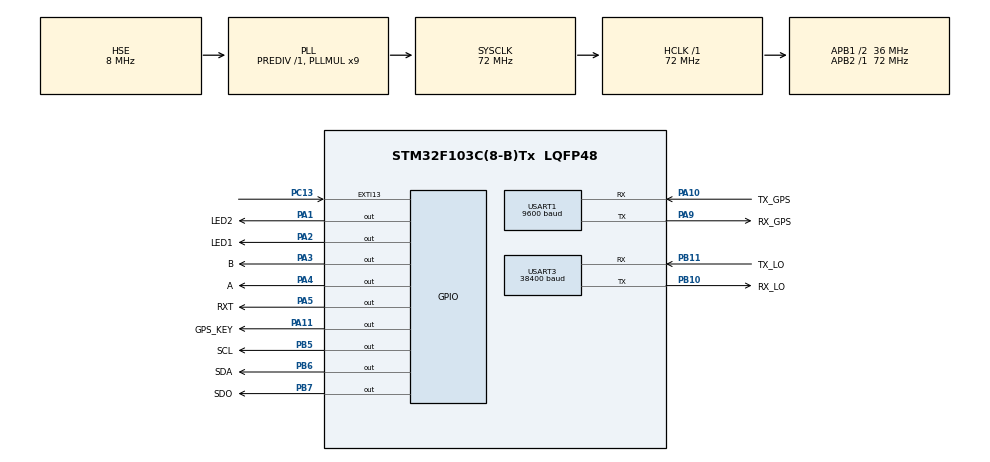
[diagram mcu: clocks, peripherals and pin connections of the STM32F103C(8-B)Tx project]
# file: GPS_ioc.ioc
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Mcu.Family=STM32F1
Mcu.Name=STM32F103C(8-B)Tx
Mcu.Package=LQFP48
NVIC.EXTI15_10_IRQn=true\:0\:0\:false\:false\:true
NVIC.PriorityGroup=NVIC_PRIORITYGROUP_4
NVIC.RTC_IRQn=true\:0\:0\:false\:false\:true
NVIC.USART1_IRQn=true\:0\:0\:false\:false\:true
PA0-WKUP.GPIO_Label=INT2
PA0-WKUP.Mode=SYS_WakeUp0
PA0-WKUP.Signal=SYS_WKUP
PA1.GPIO_Label=LED2
PA1.Signal=GPIO_Output
PA10.GPIO_Label=TX_GPS
PA10.Mode=Asynchronous
PA10.Signal=USART1_RX
PA11.GPIO_Label=GPS_KEY
PA11.Signal=GPIO_Output
PA13.GPIO_Label=TMS
PA13.Mode=JTAG_4_pins
PA13.Signal=SYS_JTMS-SWDIO
PA14.GPIO_Label=TCK
PA14.Mode=JTAG_4_pins
PA14.Signal=SYS_JTCK-SWCLK
PA15.Mode=JTAG_4_pins
PA15.Signal=SYS_JTDI
PA2.GPIO_Label=LED1
PA2.Signal=GPIO_Output
PA3.GPIO_Label=B
PA3.Signal=GPIO_Output
PA4.GPIO_Label=A
PA4.Signal=GPIO_Output
PA5.GPIO_Label=RXT
PA5.Signal=GPIO_Output
PA9.GPIO_Label=RX_GPS
PA9.Mode=Asynchronous
PA9.Signal=USART1_TX
PB10.GPIO_Label=RX_LO
PB10.Mode=Asynchronous
PB10.Signal=USART3_TX
PB11.GPIO_Label=TX_LO
PB11.Mode=Asynchronous
PB11.Signal=USART3_RX
PB3.Mode=JTAG_4_pins
PB3.Signal=SYS_JTDO-TRACESWO
PB5.GPIO_Label=SCL
PB5.Signal=GPIO_Output
PB6.GPIO_Label=SDA
PB6.Signal=GPIO_Output
PB7.GPIO_Label=SDO
PB7.Signal=GPIO_Output
PC13-TAMPER-RTC.Signal=GPXTI13
PC14-OSC32_IN.Mode=LSE-External-Oscillator
PC14-OSC32_IN.Signal=RCC_OSC32_IN
PC15-OSC32_OUT.Mode=LSE-External-Oscillator
PC15-OSC32_OUT.Signal=RCC_OSC32_OUT
PD0-OSC_IN.Mode=HSE-External-Oscillator
PD0-OSC_IN.Signal=RCC_OSC_IN
PD1-OSC_OUT.Mode=HSE-External-Oscillator
PD1-OSC_OUT.Signal=RCC_OSC_OUT
ProjectManager.HeapSize=0x200
ProjectManager.StackSize=0x400
ProjectManager.TargetToolchain=EWARM
RCC.AHBFreq_Value=72000000
RCC.APB1CLKDivider=RCC_HCLK_DIV2
RCC.APB1Freq_Value=36000000
RCC.APB1TimFreq_Value=72000000
RCC.APB2Freq_Value=72000000
RCC.APB2TimFreq_Value=72000000
RCC.HCLKFreq_Value=72000000
RCC.PLLMUL=RCC_PLL_MUL9
RCC.PLLSourceVirtual=RCC_PLLSOURCE_HSE
RCC.SYSCLKFreq_VALUE=72000000
RCC.SYSCLKSource=RCC_SYSCLKSOURCE_PLLCLK
RCC.USBFreq_Value=72000000
RTC.OutPut=RTC_OUTPUTSOURCE_ALARM
USART1.BaudRate=9600
USART1.VirtualMode=VM_ASYNC
USART3.BaudRate=38400
USART3.VirtualMode=VM_ASYNC
VP_RTC_VS_RTC_Activate.Mode=RTC_Enabled
VP_RTC_VS_RTC_Calendar.Mode=RTC_Calendar
board=GPS_ioc

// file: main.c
/**
  ******************************************************************************
  * File Name          : main.c
  * Description        : Main program body
  ******************************************************************************
  ** This notice applies to any and all portions of this file
  * that are not between comment pairs USER CODE BEGIN and
  * USER CODE END. Other portions of this file, whether
  * inserted by the user or by software development tools
  * are owned by their respective copyright owners.
  *
  * COPYRIGHT(c) 2017 STMicroelectronics
  *
  * Redistribution and use in source and binary forms, with or without modification,
  * are permitted provided that the following conditions are met:
  *   1. Redistributions of source code must retain the above copyright notice,
  *      this list of conditions and the following disclaimer.
  *   2. Redistributions in binary form must reproduce the above copyright notice,
  *      this list of conditions and the following disclaimer in the documentation
  *      and/or other materials provided with the distribution.
  *   3. Neither the name of STMicroelectronics nor the names of its contributors
  *      may be used to endorse or promote products derived from this software
  *      without specific prior written permission.
  *
  * THIS SOFTWARE IS PROVIDED BY THE COPYRIGHT HOLDERS AND CONTRIBUTORS "AS IS"
  * AND ANY EXPRESS OR IMPLIED WARRANTIES, INCLUDING, BUT NOT LIMITED TO, THE
  * IMPLIED WARRANTIES OF MERCHANTABILITY AND FITNESS FOR A PARTICULAR PURPOSE ARE
  * DISCLAIMED. IN NO EVENT SHALL THE COPYRIGHT HOLDER OR CONTRIBUTORS BE LIABLE
  * FOR ANY DIRECT, INDIRECT, INCIDENTAL, SPECIAL, EXEMPLARY, OR CONSEQUENTIAL
  * DAMAGES (INCLUDING, BUT NOT LIMITED TO, PROCUREMENT OF SUBSTITUTE GOODS OR
  * SERVICES; LOSS OF USE, DATA, OR PROFITS; OR BUSINESS INTERRUPTION) HOWEVER
  * CAUSED AND ON ANY THEORY OF LIABILITY, WHETHER IN CONTRACT, STRICT LIABILITY,
  * OR TORT (INCLUDING NEGLIGENCE OR OTHERWISE) ARISING IN ANY WAY OUT OF THE USE
  * OF THIS SOFTWARE, EVEN IF ADVISED OF THE POSSIBILITY OF SUCH DAMAGE.
  *
  ******************************************************************************
  */
#include "main.h"
#include "stm32f1xx_hal.h"
#include "rtc.h"
#include "usart.h"
#include "gpio.h"

/* USER CODE BEGIN Includes */
#include "lvbo.h"
/* USER CODE END Includes */

/* USER CODE BEGIN PV */
/* Private variables ---------------------------------------------------------*/
uint8_t ReadBuffer[10];
uint16_t ti=0;
int16_t jiasudux;
int16_t jiasuduy;
int16_t jiasuduz;
uint16_t nn=0;
uint8_t GPSCtr[16]={0X24,0X50,0X48,0X58,0X4D,0X31,0X30,0X32,0X2C,0X30,0X30,0X2A,0X31,0X32,0X0D,0X0A};////关闭所有NMEA语句
uint8_t GPSCtr1[19]={0X24,0X50,0X48,0X58,0X4D,0X31,0X30,0X33,0X2C,0X47,0X47,0X41,0X2C,0X35,0X2A,0X34,0X42,0X0D,0X0A};////打开GGA语句，5s一次输出
//uint8_t GPSCtr1[19]={0X24,0X50,0X48,0X58,0X4D,0X31,0X30,0X33,0X2C,0X47,0X47,0X41,0X2C,0X31,0X2A,0X34,0X46,0X0D,0X0A};////打开GGA语句，1s一次输出
uint8_t GPSCtr2[19]={0X24,0X50,0X48,0X58,0X4D,0X31,0X30,0X33,0X2C,0X41,0X4E,0X54,0X2C,0X30,0X2A,0X35,0X34,0X0D,0X0A};////关闭ANT语句
uint8_t GPSCtr3[13]={0X24,0X43,0X46,0X43,0X48,0X57,0X2C,0X30,0X2A,0X34,0X35,0X0D,0X0A};//冷启动复位
uint8_t GPSCtr4[13]={0X24,0X43,0X46,0X43,0X48,0X57,0X2C,0X31,0X2A,0X34,0X34,0X0D,0X0A};//热启动复位
uint8_t TEMP[2];
uint16_t jiaoyan=0X330;
uint8_t GPSData[50];
uint8_t LoRaData[50];
uint8_t LoRaDatai=0;
uint8_t LoRaxiumian[4]={0XEE,0XFF,0XEE,0XFF};
uint8_t didian;
uint16_t temp=0;
uint8_t xiumianstate=0;
uint8_t antE=0;
uint8_t GPSErrorn=0;
uint8_t GPS_flag=0;
uint8_t zhongduantime=0;
uint32_t zhongduantime1=0;
/* USER CODE END PV */

void SystemClock_Config(void);

/* USER CODE BEGIN PFP */
/* Private function prototypes -----------------------------------------------*/

/* USER CODE END PFP */

/* USER CODE BEGIN 0 */
void delay(uint32_t delaytime)
{
   while(ti<(delaytime*20))
    {
      ti++;
    }
    ti=0;
}

/* USER CODE END 0 */

int main(void)
{

  /* MCU Configuration----------------------------------------------------------*/

  /* Reset of all peripherals, Initializes the Flash interface and the Systick. */
  HAL_Init();

  /* Configure the system clock */
  SystemClock_Config();

  /* USER CODE BEGIN SysInit */
  lvbo_initialize( );
  /* USER CODE END SysInit */

  /* Initialize all configured peripherals */
  MX_GPIO_Init();
  MX_RTC_Init();
  MX_USART1_UART_Init();
  MX_USART3_UART_Init();

  /* USER CODE BEGIN 2 */
     lvbo_DW.bushuall=BKP->DR2;////读取备份寄存器的总步数
     HAL_GPIO_WritePin(GPIOA, LED1_Pin, GPIO_PIN_SET);
     HAL_GPIO_WritePin(GPIOA, RXT_Pin, GPIO_PIN_SET);////RXT置高
     if(BKP->DR1!=0X5050)//////判断是否第一次配置，如果不是则跳过
     {
     RCC->APB1ENR|=1<<28;/////使能电源时钟
     RCC->APB1ENR|=1<<28;/////使能备份时钟
     PWR->CR|=1<<8;/////取消备份区写保护
     RCC->BDCR|=1<<16;/////备份区域软复位结束
     RCC->BDCR&=~(1<<16);/////备份区域软复位结束
//     RCC->BDCR|=1<<0;
//     while(!(RCC->BDCR&0X02)&&temp<250)
//     {
//       temp++;
//       HAL_Delay(10);
//     };
//     if(temp>=250)return 1;
//    RCC->BDCR|=1<<8;
     RCC->BDCR|=1<<9;
     RCC->BDCR|=1<<15;////RTC时钟使能
     while(!(RTC->CRL&(1<<5)));////等待RTC寄存器操作完成
     while(!(RTC->CRL&(1<<3)));////等待RTC寄存器同步
     RTC->CRH=0X02;////允许闹钟中断
     while(!(RTC->CRL&(1<<5)));////等待RTC寄存器操作完成
     RTC->CRL|=1<<4;/////进入配置模式
     RTC->PRLH=0X0000;
     RTC->PRLL=0X7FFF; ////设置预分频系数，产生1s一次的信号
     RTC->ALRH=0X0000;
     RTC->ALRL=0X012C;////设置5min产生一次中断
     RTC->CRL&=~(1<<4);/////配置更新
     while(!(RTC->CRL&(1<<5)));////等待RTC寄存器操作完成
     HAL_Delay(100);
     lis2dh_WriteOneByte(0X20,0X67);///////电源模式 通信模式 400HZ 三个方向的加速度传感器使能
     lis2dh_WriteOneByte(0X1F,0XC0);/////温度传感器使能
     lis2dh_WriteOneByte(0X23,0X90);/////电源模式 量程设置+-4g 数据更新模式
     lis2dh_WriteOneByte(0X34,0X6A);/////INT2模式
     lis2dh_WriteOneByte(0X36,0X22);/////阈值1120
     lis2dh_WriteOneByte(0X37,0X70);/////INT时间
     lis2dh_WriteOneByte(0X25,0XF8);/////

     HAL_GPIO_WritePin(GPIOA, GPS_KEY_Pin, GPIO_PIN_SET);////打开GPS电源开关
     HAL_GPIO_WritePin(GPIOA, LED2_Pin, GPIO_PIN_RESET);////打开GPS工作灯
     HAL_Delay(2000);
     HAL_UART_Transmit(&huart1,GPSCtr4,13,0xffff);//////GPS设置，热启动
     HAL_Delay(2000);
     HAL_UART_Transmit(&huart1,GPSCtr,16,0xffff);//////GPS设置
     HAL_Delay(2000);
     HAL_UART_Transmit(&huart1,GPSCtr1,19,0xffff);//////GPS设置
     HAL_Delay(2000);
     HAL_UART_Transmit(&huart1,GPSCtr2,19,0xffff);//////GPS设置
     HAL_Delay(2000);
     //HAL_GPIO_WritePin(GPIOA, GPS_KEY_Pin, GPIO_PIN_RESET);////关闭GPS电源开关
     HAL_GPIO_WritePin(GPIOA, LED2_Pin, GPIO_PIN_SET);////关闭GPS工作灯
     //HAL_Delay(3000);

     PWR->CR&=0XFFFFFF0F;/////设置低电警告参数
     PWR->CR|=0X000000F0;/////2.9V低电警告

     BKP->DR1=0X5050;/////标记配置次数
     }
     else
     {
       while(!(RTC->CRL&(1<<3)));////等待RTC寄存器同步
       RTC->CRH=0X02;////允许闹钟中断
       while(!(RTC->CRL&(1<<5)));////等待RTC寄存器操作完成
     }
  /* USER CODE END 2 */

  /* Infinite loop */
  while (1)
  {

  /* USER CODE BEGIN 3 */
     nn++;
     didian=(PWR->CSR&0X0000004);///读取低电状态
     if(didian==1)
       HAL_GPIO_WritePin(GPIOA, LED1_Pin, GPIO_PIN_RESET);/////点亮低电警报灯
     else
       HAL_GPIO_WritePin(GPIOA, LED1_Pin, GPIO_PIN_SET);/////关闭低电警报灯
     TEMP[0]=lis2dh_ReadOneByte(0X0C);  /////TEMP_L
     TEMP[1]=lis2dh_ReadOneByte(0X0D); ///TEMP_H

     ReadBuffer[2]=lis2dh_ReadOneByte(0X28);/////x_L
     ReadBuffer[3]=lis2dh_ReadOneByte(0X29);/////x_H
     jiasudux=(ReadBuffer[3]*256+ReadBuffer[2])/64;
     if(jiasudux>=512)
       jiasudux=(jiasudux-1024)*8;
     else jiasudux=jiasudux*8;
      lvbo_U.ax=jiasudux;

     ReadBuffer[4]=lis2dh_ReadOneByte(0X2A);///y_L
     ReadBuffer[5]=lis2dh_ReadOneByte(0X2B);////y_H
          jiasuduy= (ReadBuffer[5]*256+ReadBuffer[4])/64;
     if(jiasuduy>=512)
       jiasuduy=(jiasuduy-1024)*8;
     else jiasuduy=jiasuduy*8;
     lvbo_U.ay=jiasuduy;

     ReadBuffer[6]=lis2dh_ReadOneByte(0X2C);/////z_L
     ReadBuffer[7]=lis2dh_ReadOneByte(0X2D);////z_H
         jiasuduz= (ReadBuffer[7]*256+ReadBuffer[6])/64;
     if(jiasuduz>=512)
       jiasuduz=(jiasuduz-1024)*8;
     else jiasuduz=jiasuduz*8;
     lvbo_U.az=jiasuduz;

     lvbo_step();

     if(lvbo_Y.xiumin==1)///休眠动作
     {
       lvbo_Y.GPS_state=1;
       xiumianstate++;
     }

      if(lvbo_Y.LoRa_state==1)
      {
        //HAL_Delay(2000);

        while(LoRaDatai<24)/////整合LoRa要发送的数据
        {
          LoRaData[LoRaDatai]=GPSData[LoRaDatai+19];
          LoRaDatai++;
        }
        /////////////////////

        for(LoRaDatai=0;LoRaDatai<10;LoRaDatai++)/////整合LoRa要发送的数据,时间
        {
          LoRaData[LoRaDatai]=GPSData[LoRaDatai+8];
        }
        LoRaData[10]=0x3A;///////:
        LoRaData[11]=GPSData[29];/////N or S
        for(LoRaDatai=12;LoRaDatai<22;LoRaDatai++)/////纬度
        {
          LoRaData[LoRaDatai]=GPSData[LoRaDatai+7];
        }
        LoRaData[22]=GPSData[42];/////W or E
        for(LoRaDatai=23;LoRaDatai<34;LoRaDatai++)//////经度
        {
          LoRaData[LoRaDatai]=GPSData[LoRaDatai+8];
        }
        LoRaData[34]=0x54;
        if(TEMP[1]< 0x80)
        {
          LoRaData[35]='+';
          LoRaData[36]=TEMP[1]/10+48;
          LoRaData[37]=TEMP[1]%10+48;
        }
        else{
             LoRaData[35]='-';
              LoRaData[36]=(256-TEMP[1])/10+48;
              LoRaData[37]=(256-TEMP[1])%10+48;
        }
        LoRaData[38]=0x2C;
        LoRaData[39]=didian+48;
        LoRaData[40]=0x2C;
        LoRaData[41]=lvbo_DW.bushuall/10000+48;////总步数最高位
        LoRaData[42]=(lvbo_DW.bushuall/1000)%10+48;////总步数千位
        LoRaData[43]=(lvbo_DW.bushuall/100)%10+48;////总步数百位
        LoRaData[44]=(lvbo_DW.bushuall/10)%10+48;////总步数十位
        LoRaData[45]=(lvbo_DW.bushuall)%10+48;////总步数个位
        if(GPS_flag==2)
        {
          LoRaData[11]='G';
          LoRaData[12]='P';
          LoRaData[13]='S';
          LoRaData[14]='A';
          LoRaData[15]='N';
          LoRaData[16]='T';
          LoRaData[17]='E';
          LoRaData[18]='R';
          LoRaData[19]='R';
          LoRaData[20]='O';
          LoRaData[21]='R';
          GPS_flag=0;
        for(LoRaDatai=22;LoRaDatai<34;LoRaDatai++)//////经度
        {
          LoRaData[LoRaDatai]=0X20;
        }
        }
        HAL_GPIO_WritePin(GPIOA, B_Pin|A_Pin , GPIO_PIN_SET);///唤醒LoRa
        HAL_Delay(100);
        HAL_UART_Transmit(&huart3,LoRaData,46,0xffff);/////LoRa发送数据
        HAL_Delay(100);
        HAL_UART_Transmit(&huart3,LoRaxiumian,4,0xffff);/////LoRa休眠
        lvbo_Y.LoRa_state=0;
        HAL_GPIO_WritePin(GPIOA, B_Pin|A_Pin , GPIO_PIN_RESET);///复位唤醒引脚
        memset(GPSData,0,50);/////GPS数据清零
        memset(LoRaData,0,50);////LoRa数据清零
        zhongduantime=0;

      }

         if(xiumianstate==2) //////休眠
     {
       BKP->DR2=lvbo_DW.bushuall;
       HAL_PWR_DisableWakeUpPin(PWR_WAKEUP_PIN1);

       SET_BIT(SCB->SCR, ((uint32_t)SCB_SCR_SLEEPDEEP_Msk));////设置SLEEPDEEP位

       RCC->APB1ENR|=1<<28;///使能电源时钟
       PWR->CR|=0X00000100;//////使能WAKEUP引脚
       HAL_PWR_EnableWakeUpPin(PWR_WAKEUP_PIN1);

       SET_BIT(PWR->CR, PWR_CR_PDDS);//////设置PDDS位
       PWR->CR|=0X00000004;/////唤醒位清零WUF
       __WFI();

     }

     if(lvbo_Y.GPS_state==1)
     {
       HAL_GPIO_WritePin(GPIOA, GPS_KEY_Pin, GPIO_PIN_SET);////打开GPS电源开关
       HAL_GPIO_WritePin(GPIOA, LED2_Pin, GPIO_PIN_RESET);/////点亮GPS工作灯
       //HAL_UART_Transmit(&huart1,GPSCtr4,13,0xffff);//////GPS设置，热启动
        // HAL_Delay(1000);////等待重捕获
       antE=0;
       while((jiaoyan==0X330|jiaoyan==0X0)&GPS_flag==0)
       {
         HAL_Delay(1000);
        // HAL_UART_Receive(&huart1,GPSData,50,0xffff);//////GPS接收数据 查询方式
         HAL_UART_Receive_IT(&huart1,GPSData,50);//////以中断方式接收数据

         jiaoyan=(GPSData[19]+GPSData[20]+GPSData[21]+GPSData[18]+GPSData[24]+GPSData[25]+GPSData[26]+GPSData[23]+GPSData[31]+GPSData[32]+GPSData[33]+GPSData[34]+GPSData[30]+GPSData[37]+GPSData[38]+GPSData[39]+GPSData[36]);
         if(GPSData[1]!=0X47|GPSData[2]!=0X4E|GPSData[3]!=0X47|GPSData[4]!=0X47|GPSData[5]!=0X41)
         jiaoyan=0X330;
         if(jiaoyan!=0X330&jiaoyan!=0X0)
         {
           GPS_flag=1;
         }
         else{
         antE++;
         GPSErrorn++;

         // if(zhongduantime>=10)
         if(GPSErrorn>=100)
          {
           // if(jiaoyan==0X330)
            GPS_flag=2;

            GPSErrorn=0;
          }
         }

       }
       // GPS_flag=0;
        jiaoyan=0X330;/////复位校验位
       // HAL_GPIO_WritePin(GPIOA, GPS_KEY_Pin, GPIO_PIN_RESET);////关闭GPS电源开关
        HAL_GPIO_WritePin(GPIOA, LED2_Pin, GPIO_PIN_SET);/////关闭GPS工作灯
       lvbo_U.GPS_OK=1;
     }
     if(lvbo_Y.GPS_OKans==1)
       lvbo_U.GPS_OK=0;

  }
  /* USER CODE END 3 */

}

/** System Clock Configuration
*/
void SystemClock_Config(void)
{

  RCC_OscInitTypeDef RCC_OscInitStruct;
  RCC_ClkInitTypeDef RCC_ClkInitStruct;
  RCC_PeriphCLKInitTypeDef PeriphClkInit;

    /**Initializes the CPU, AHB and APB busses clocks
    */
  RCC_OscInitStruct.OscillatorType = RCC_OSCILLATORTYPE_LSI|RCC_OSCILLATORTYPE_HSE;
  RCC_OscInitStruct.HSEState = RCC_HSE_ON;
  RCC_OscInitStruct.HSEPredivValue = RCC_HSE_PREDIV_DIV1;
  RCC_OscInitStruct.HSIState = RCC_HSI_ON;
  RCC_OscInitStruct.LSIState = RCC_LSI_ON;
  RCC_OscInitStruct.PLL.PLLState = RCC_PLL_ON;
  RCC_OscInitStruct.PLL.PLLSource = RCC_PLLSOURCE_HSE;
  RCC_OscInitStruct.PLL.PLLMUL = RCC_PLL_MUL9;
  if (HAL_RCC_OscConfig(&RCC_OscInitStruct) != HAL_OK)
  {
    _Error_Handler(__FILE__, __LINE__);
  }

    /**Initializes the CPU, AHB and APB busses clocks
    */
  RCC_ClkInitStruct.ClockType = RCC_CLOCKTYPE_HCLK|RCC_CLOCKTYPE_SYSCLK
                              |RCC_CLOCKTYPE_PCLK1|RCC_CLOCKTYPE_PCLK2;
  RCC_ClkInitStruct.SYSCLKSource = RCC_SYSCLKSOURCE_PLLCLK;
  RCC_ClkInitStruct.AHBCLKDivider = RCC_SYSCLK_DIV1;
  RCC_ClkInitStruct.APB1CLKDivider = RCC_HCLK_DIV2;
  RCC_ClkInitStruct.APB2CLKDivider = RCC_HCLK_DIV1;

  if (HAL_RCC_ClockConfig(&RCC_ClkInitStruct, FLASH_LATENCY_2) != HAL_OK)
  {
    _Error_Handler(__FILE__, __LINE__);
  }

  PeriphClkInit.PeriphClockSelection = RCC_PERIPHCLK_RTC;
  PeriphClkInit.RTCClockSelection = RCC_RTCCLKSOURCE_LSI;
  if (HAL_RCCEx_PeriphCLKConfig(&PeriphClkInit) != HAL_OK)
  {
    _Error_Handler(__FILE__, __LINE__);
  }

    /**Configure the Systick interrupt time
    */
  HAL_SYSTICK_Config(HAL_RCC_GetHCLKFreq()/1000);

    /**Configure the Systick
    */
  HAL_SYSTICK_CLKSourceConfig(SYSTICK_CLKSOURCE_HCLK);

  /* SysTick_IRQn interrupt configuration */
  HAL_NVIC_SetPriority(SysTick_IRQn, 0, 0);
}

/* USER CODE BEGIN 4 */

void HAL_UART_RxCpltCallback(UART_HandleTypeDef *huart)/////串口中断回调函数，每次中断只回调一次
{
  /* Prevent unused argument(s) compilation warning */
  UNUSED(huart);
  /* NOTE: This function Should not be modified, when the callback is needed,
           the HAL_UART_RxCpltCallback could be implemented in the user file
   */
  zhongduantime++;
}

/* USER CODE END 4 */

void _Error_Handler(char * file, int line)
{
  while(1)
  {
  }
}

/************************ (C) COPYRIGHT STMicroelectronics *****END OF FILE****/
